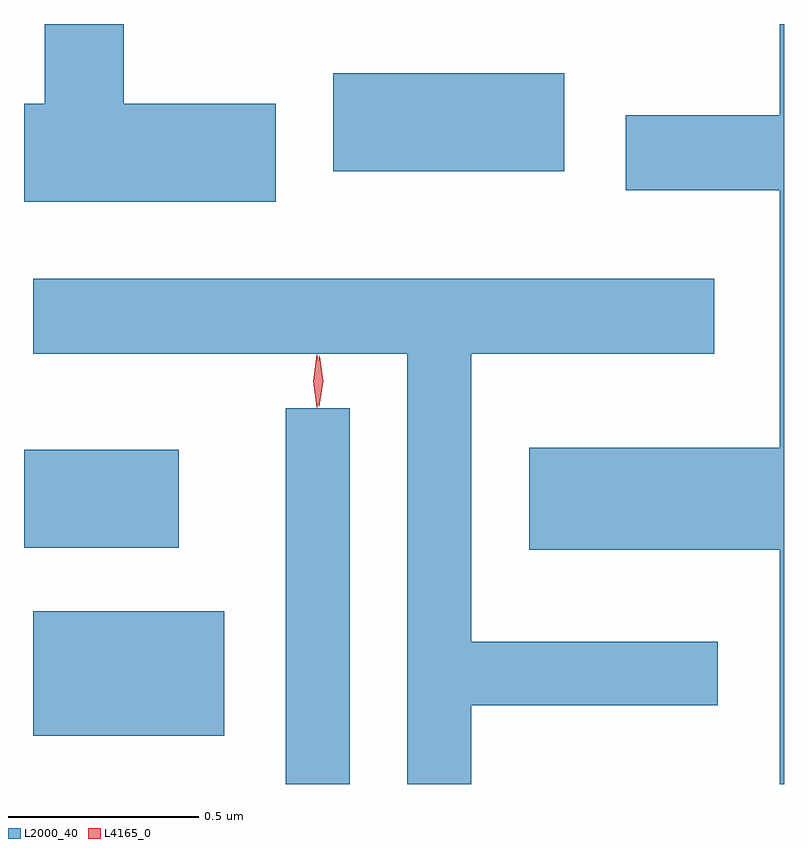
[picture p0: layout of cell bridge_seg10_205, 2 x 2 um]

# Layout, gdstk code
import gdstk
lib = gdstk.Library(unit=1e-6, precision=1e-09)
def R(c, l, rs):  # rectangles x0, y0, x1, y1
    for r in rs: c.add(gdstk.rectangle(r[:2], r[2:], *l))
def P(c, l, *ps):  # polygons
    for p in ps: c.add(gdstk.Polygon(p, *l))
L2000_40 = (2000, 40)
L4165_0 = (4165, 0)

bridge_seg10_205 = lib.new_cell('bridge_seg10_205')
R(bridge_seg10_205, L2000_40, [(1848.831,2141.184,1848.999,2142.173), (1848.166,2141.311,1848.669,2141.639), (1848.142,2141.806,1848.549,2142.064), (1848.956,2142.796,1849.564,2143.054)])
P(bridge_seg10_205, L2000_40, [(1850.142,2143.184),(1850.131,2143.184),(1850.131,2142.944),(1849.726,2142.944),(1849.726,2142.746),(1850.131,2142.746),(1850.131,2142.069),(1849.471,2142.069),(1849.471,2141.801),(1850.131,2141.801),(1850.131,2141.184),(1850.142,2141.184)],
  [(1848.804,2142.974),(1848.404,2142.974),(1848.404,2143.184),(1848.196,2143.184),(1848.196,2142.974),(1848.142,2142.974),(1848.142,2142.716),(1848.804,2142.716)],
  [(1849.319,2141.391),(1849.968,2141.391),(1849.968,2141.559),(1849.319,2141.559),(1849.319,2142.316),(1849.959,2142.316),(1849.959,2142.514),(1848.166,2142.514),(1848.166,2142.316),(1849.151,2142.316),(1849.151,2141.184),(1849.319,2141.184)])
P(bridge_seg10_205, L4165_0, [(1848.913,2142.174),(1848.912,2142.175),(1848.903,2142.244),(1848.912,2142.313),(1848.913,2142.314),(1848.914,2142.313),(1848.923,2142.244),(1848.914,2142.175)],
  [(1848.918,2142.178),(1848.909,2142.244),(1848.919,2142.31),(1848.919,2142.311),(1848.92,2142.31),(1848.929,2142.244),(1848.919,2142.178),(1848.919,2142.178)])

lib.write_gds('bridge_seg10_205.gds')
